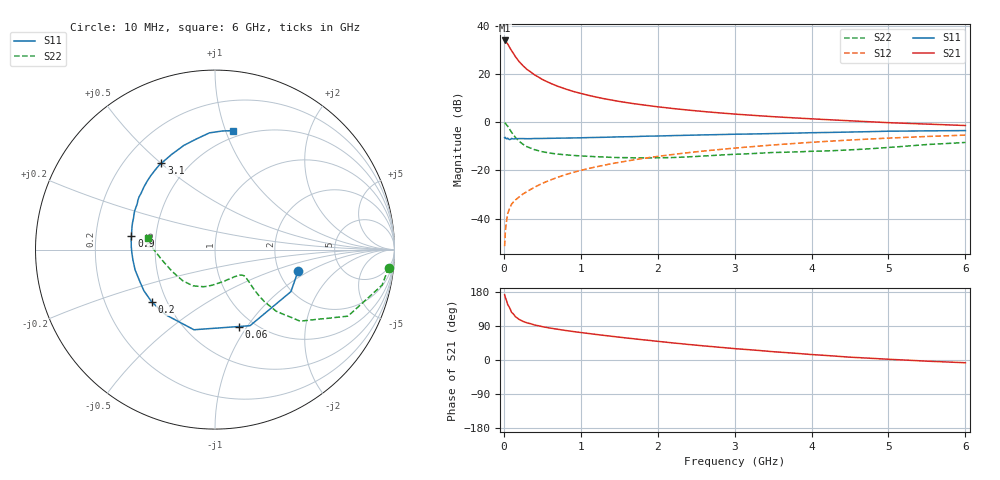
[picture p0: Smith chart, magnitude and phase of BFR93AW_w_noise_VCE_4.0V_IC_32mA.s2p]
! Infineon Technologies  Discrete & RF Semiconductors
! BFR93AW
! VCE =  4.0 V,  IC =  32 mA
! Common Emitter S-Parameters:  Jan 2017
# GHz  S  MA  R  50
!  f  S11  S21  S12  S22
! GHz  MAG  ANG  MAG  ANG  MAG  ANG  MAG  ANG
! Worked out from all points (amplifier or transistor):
!   77 points, 10 MHz to 6 GHz, reference 50 ohm
!   highest |S21| = 33.9 dB at 10 MHz (marker M1)
!   |S21| within 3 dB of that: start of sweep to 77.68 MHz
!   unconditionally stable (mu >= 1): 547.1 MHz to 2.05 GHz
!   at 130 MHz: K = 0.55, MSG = 30.5 dB, |S12| = -32.9 dB
!   at 2.2 GHz: K = 0.99, MSG = 9.5 dB, |S12| = -13.4 dB
!   at 6 GHz: K = 0.89, MSG = 2.0 dB, |S12| = -5.3 dB
!   lowest NFmin = 1.86 dB at 450 MHz
!   S11 on the Smith chart (normalised r, x): 10 MHz: 2.55, -0.79; 60 MHz: 0.85, -0.92; 200 MHz: 0.41, -0.30; 900 MHz: 0.36, +0.07; 3.1 GHz: 0.35, +0.50; 6 GHz: 0.44, +1.07
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0.01  0.4779 -14.5  49.41 172.2  0.0027 83.1  0.9727 -5.9
0.02  0.4836 -28.9  48.92 165.1  0.0054 83.6  0.9519 -12.0
0.05  0.4667 -65.3  41.84 146.2  0.0127 68.4  0.8283 -26.6
0.06  0.4486 -72.8  39.24 143.1  0.0141 66.5  0.7836 -28.7
0.1  0.4617 -104.7  30.44 125.9  0.02 61.8  0.6192 -40.1
0.15  0.4553 -127.1  22.82 114.4  0.0245 59.0  0.4833 -45.2
0.2  0.4575 -140.6  17.96 107.0  0.0283 60.2  0.4007 -46.5
0.25  0.4577 -150.0  14.75 101.8  0.0327 61.6  0.3481 -46.3
0.3  0.455 -156.5  12.44 98.1  0.0363 63.5  0.3109 -45.6
0.4  0.4594 -165.8  9.54 92.3  0.0449 66.1  0.2691 -43.9
0.5  0.4608 -172.5  7.69 88.0  0.0541 68.0  0.2444 -42.7
0.6  0.4635 -177.7  6.466 84.3  0.063 69.1  0.229 -42.2
0.7  0.4668 178.0  5.562 81.1  0.0722 70.1  0.2184 -42.0
0.9  0.4717 170.7  4.356 75.2  0.0909 70.3  0.2052 -43.8
1.1  0.4799 164.4  3.607 70.0  0.1099 70.2  0.1967 -46.7
1.3  0.4866 158.9  3.078 65.0  0.1283 69.2  0.1903 -50.9
1.5  0.497 154.2  2.696 60.3  0.1473 68.1  0.1846 -56.3
2.1  0.5224 140.7  2.002 47.2  0.2049 63.7  0.184 -77.0
3.1  0.5663 121.8  1.437 28.5  0.2995 54.6  0.2194 -110.3
4.1  0.609 105.2  1.153 13.1  0.3921 44.2  0.2516 -139.5
5.1  0.6527 91.4  0.965 1.0  0.4757 33.1  0.3078 -171.3
6  0.6707 81.2  0.854 -7.3  0.5402 23.0  0.3806 170.0
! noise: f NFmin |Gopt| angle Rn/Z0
0.45  1.86  0.19  175  0.16
0.9  2.12  0.26  -174  0.16
1.9  3.16  0.51  -135  0.3
2.4  3.82  0.56  -124  0.57
